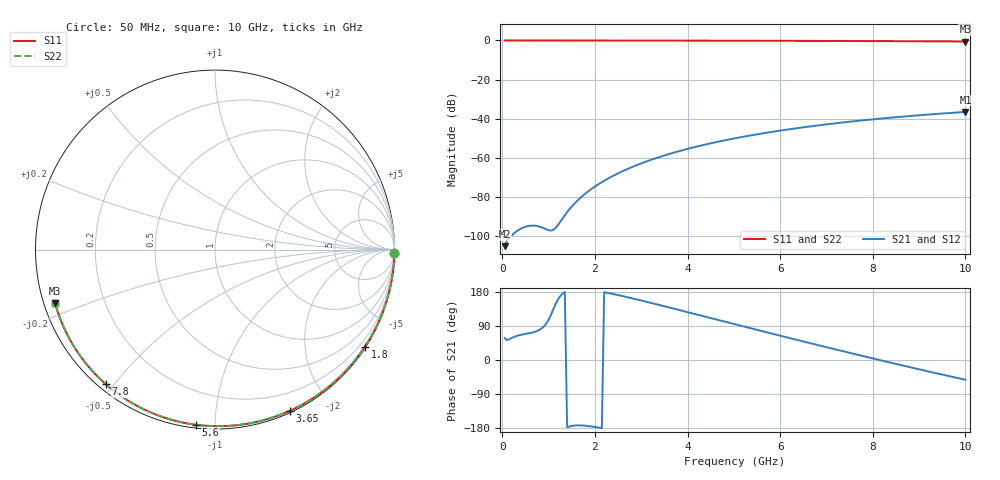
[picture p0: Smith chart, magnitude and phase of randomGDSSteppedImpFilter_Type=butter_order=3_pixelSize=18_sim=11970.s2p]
! freq	dB(S11)	phase(S11)	dB(S12)	phase(S12)
!  dB(S21)	phase(S21)	dB(S22)	phase(S22)
!S-par simulation data
#  GHz  S  DB  R 50
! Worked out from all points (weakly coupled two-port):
!   200 points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, 50 MHz to 10 GHz, reference 50 ohm
!   highest |S21| = -36.52 dB at 10 GHz (marker M1); lowest = -105.1 dB at 50 MHz (marker M2)
!   lowest |S11| = -0.5 dB at 10 GHz (marker M3), VSWR 31.93, Z = 1.61 - j8.13 ohm
!   |S11| at or under -10 dB: nowhere
!   |S22| runs from -0.5 to 0.0 dB; largest |S21 - S12| = 0
!   S11 on the Smith chart (normalised r, x): 50 MHz: open; 1.8 GHz: 0.03, -3.38; 3.65 GHz: 0.02, -1.57; 5.6 GHz: 0.02, -0.90; 7.8 GHz: 0.02, -0.48; 10 GHz: 0.03, -0.16
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0.05  -0.00 -0.9  -105.13 57.7  -105.13 57.7  -0.00 -0.9
0.45  -0.01 -8.4  -95.62 67.6  -95.62 67.6  -0.01 -8.4
0.85  -0.02 -15.8  -95.49 83.4  -95.49 83.4  -0.02 -15.8
1.7  -0.04 -31.2  -80.14 -172.6  -80.14 -172.6  -0.04 -31.2
1.75  -0.04 -32.1  -79.12 -173.0  -79.12 -173.0  -0.04 -32.1
1.8  -0.04 -33.0  -78.14 -173.5  -78.14 -173.5  -0.04 -33.0
2.1  -0.05 -38.3  -73.12 -178.7  -73.12 -178.7  -0.05 -38.3
2.3  -0.05 -41.9  -70.35 176.6  -70.35 176.6  -0.05 -41.9
2.5  -0.06 -45.4  -67.91 171.3  -67.91 171.3  -0.06 -45.4
2.9  -0.07 -52.3  -63.75 160.0  -63.75 160.0  -0.07 -52.3
3.4  -0.08 -60.8  -59.52 144.9  -59.52 144.9  -0.08 -60.8
3.65  -0.09 -65.0  -57.70 137.2  -57.70 137.2  -0.09 -65.0
4.3  -0.11 -75.7  -53.65 116.9  -53.65 116.9  -0.11 -75.7
5.05  -0.14 -87.7  -49.88 93.5  -49.88 93.5  -0.14 -87.7
5.6  -0.16 -96.2  -47.56 76.4  -47.56 76.4  -0.16 -96.2
6.15  -0.19 -104.6  -45.54 59.5  -45.54 59.5  -0.19 -104.6
6.7  -0.22 -112.8  -43.76 42.8  -43.76 42.8  -0.22 -112.8
7.25  -0.26 -121.0  -42.18 26.3  -42.18 26.3  -0.26 -120.9
7.8  -0.30 -129.0  -40.78 10.0  -40.78 10.0  -0.30 -129.0
8.35  -0.35 -137.0  -39.53 -6.0  -39.53 -6.0  -0.35 -137.0
9.2  -0.44 -149.5  -37.86 -30.2  -37.86 -30.2  -0.44 -149.5
10  -0.54 -161.5  -36.52 -52.1  -36.52 -52.1  -0.54 -161.5
